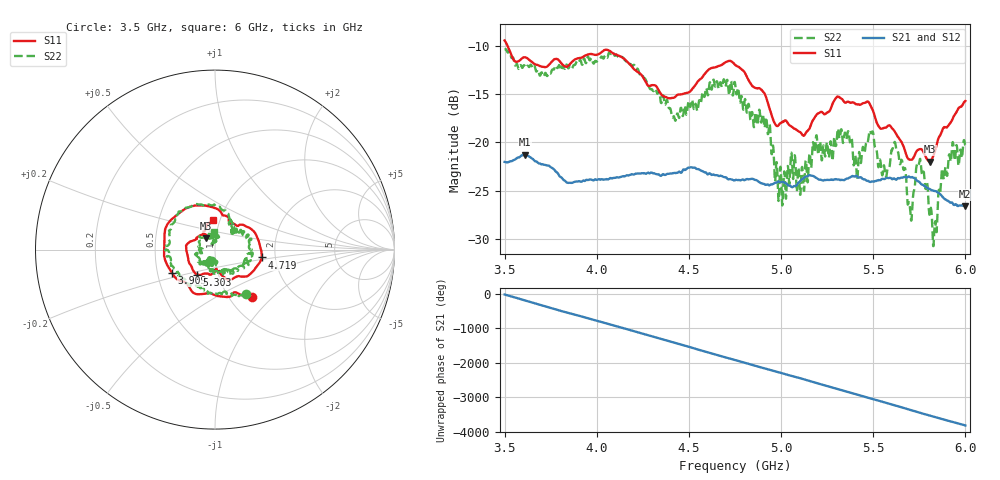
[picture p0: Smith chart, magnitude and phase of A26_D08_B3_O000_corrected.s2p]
! Created with skrf 1.9.0 (http://scikit-rf.org).
# Hz S RI R 50.0
!freq ReS11 ImS11 ReS21 ImS21 ReS12 ImS12 ReS22 ImS22
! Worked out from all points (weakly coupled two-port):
!   1601 points, 3.5 GHz to 6 GHz, reference 50 ohm
!   highest |S21| = -21.28 dB at 3.612 GHz (marker M1); lowest = -26.6 dB at 5.997 GHz (marker M2)
!   lowest |S11| = -22.0 dB at 5.806 GHz (marker M3), VSWR 1.17, Z = 45 + j5.73 ohm
!   |S11| at or under -10 dB: 3.515 GHz to end of sweep
!   |S22| runs from -30.7 to -10.4 dB; largest |S21 - S12| = 0.001
!   S11 on the Smith chart (normalised r, x): 3.5 GHz: 1.27, -0.76; 3.909 GHz: 0.60, -0.17; 4.719 GHz: 1.69, -0.16; 5.303 GHz: 0.79, -0.23; 6 GHz: 0.93, +0.31
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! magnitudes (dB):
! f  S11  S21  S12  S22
! 3.5 GHz  -9.5  -22.0  -22.0  -10.4
! 3.612 GHz  -11.2  -21.3  -21.3  -12.2
! 3.909 GHz  -11.3  -24.0  -24.0  -11.5
! 3.917 GHz  -11.3  -24.1  -24.0  -11.8
! 4.334 GHz  -14.6  -23.3  -23.2  -14.8
! 4.42 GHz  -15.4  -23.2  -23.2  -17.4
! 4.719 GHz  -11.6  -23.8  -23.9  -15.1
! 4.75 GHz  -12.0  -23.9  -23.8  -13.9
! 4.928 GHz  -15.9  -24.3  -24.3  -19.1
! 4.997 GHz  -18.0  -24.1  -24.1  -22.5
! 5.167 GHz  -17.9  -23.4  -23.4  -21.7
! 5.303 GHz  -15.3  -23.8  -23.8  -19.4
! 5.489 GHz  -16.3  -24.1  -24.0  -19.1
! 5.584 GHz  -18.3  -23.7  -23.7  -22.7
! 5.625 GHz  -19.1  -23.8  -23.8  -20.7
! 5.7 GHz  -21.8  -23.6  -23.6  -26.8
! 5.748 GHz  -20.7  -24.1  -24.0  -22.2
! 5.806 GHz  -22.0  -24.8  -24.8  -27.5
! 5.834 GHz  -20.9  -25.0  -25.0  -28.3
! 5.881 GHz  -18.5  -25.7  -25.7  -23.7
! 5.997 GHz  -15.8  -26.6  -26.5  -20.1
! 6 GHz  -15.7  -26.6  -26.5  -20.3
